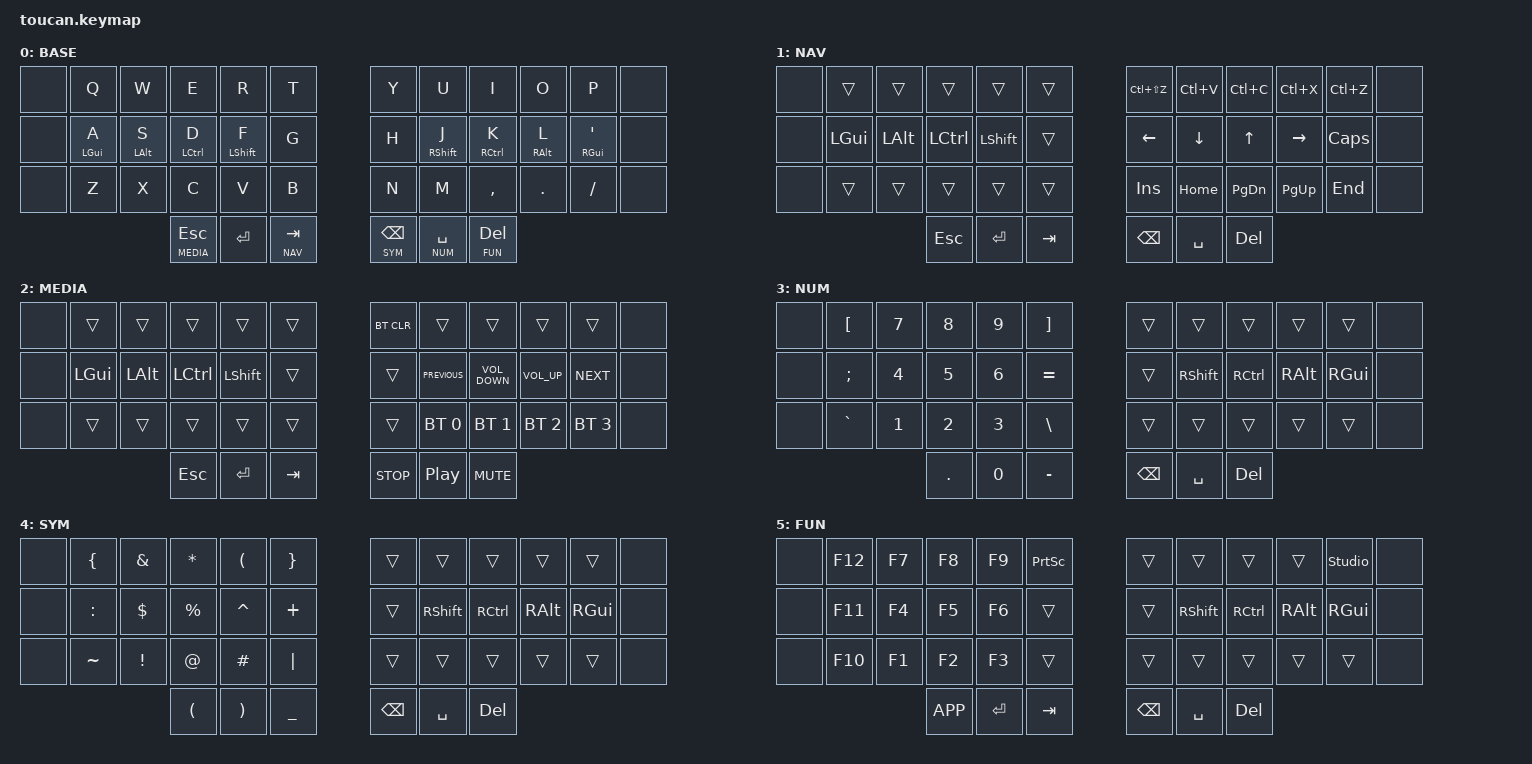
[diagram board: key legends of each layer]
/* Home-row modifiers and six layers ported from the Tornblue keymap. */
#include <behaviors.dtsi>
#include <dt-bindings/zmk/keys.h>
#include <dt-bindings/zmk/bt.h>

#define DEFAULT 0
#define NAV     1
#define MEDIA   2
#define NUM     3
#define SYM     4
#define FUN     5

/ {
    behaviors {
        hml: homerow_left {
            compatible = "zmk,behavior-hold-tap";
            display-name = "Home Row Left";
            #binding-cells = <2>;
            flavor = "balanced";
            tapping-term-ms = <200>;
            quick-tap-ms = <175>;
            require-prior-idle-ms = <175>;
            bindings = <&kp>, <&kp>;
            hold-trigger-key-positions = <20 21 22 23>;
            hold-trigger-on-release;
        };
        hmr: homerow_right {
            compatible = "zmk,behavior-hold-tap";
            display-name = "Home Row Right";
            #binding-cells = <2>;
            flavor = "balanced";
            tapping-term-ms = <200>;
            quick-tap-ms = <175>;
            require-prior-idle-ms = <175>;
            bindings = <&kp>, <&kp>;
            hold-trigger-key-positions = <14 15 16 17>;
            hold-trigger-on-release;
        };
        mo_layer: behavior_mo_layer {
            compatible = "zmk,behavior-hold-tap";
            display-name = "Symbol Layer / Backspace";
            #binding-cells = <2>;
            tapping-term-ms = <200>;
            quick-tap-ms = <200>;
            flavor = "balanced";
            bindings = <&mo>, <&kp>;
        };
    };

    keymap {
        compatible = "zmk,keymap";

        default_layer {
            display-name = "BASE";
            bindings = <
                &none  &kp Q        &kp W        &kp E         &kp R          &kp T    &kp Y  &kp U          &kp I         &kp O        &kp P          &none
                &none  &hml LGUI A  &hml LALT S  &hml LCTRL D  &hml LSHIFT F  &kp G    &kp H  &hmr RSHIFT J  &hmr RCTRL K  &hmr RALT L  &hmr RGUI SQT  &none
                &none  &kp Z        &kp X        &kp C         &kp V          &kp B    &kp N  &kp M          &kp COMMA     &kp DOT      &kp FSLH       &none
                                &lt MEDIA ESC  &kp RET        &lt NAV TAB    &mo_layer SYM BSPC  &lt NUM SPACE  &lt FUN DELETE
            >;
        };

        nav {
            display-name = "NAV";
            bindings = <
                &none  &trans        &trans    &trans     &trans      &trans    &kp LC(LS(Z))  &kp LC(V)  &kp LC(C)      &kp LC(X)    &kp LC(Z)  &none
                &none  &kp LEFT_GUI  &kp LALT  &kp LCTRL  &kp LSHIFT  &trans    &kp LEFT       &kp DOWN   &kp UP         &kp RIGHT    &kp CAPS   &none
                &none  &trans        &trans    &trans     &trans      &trans    &kp INSERT     &kp HOME   &kp PAGE_DOWN  &kp PAGE_UP  &kp END    &none
                                &kp ESC    &kp RET     &kp TAB    &kp BSPC       &kp SPACE  &kp DELETE
            >;
        };

        media {
            display-name = "MEDIA";
            bindings = <
                &none  &trans        &trans    &trans     &trans      &trans    &bt BT_CLR  &trans          &trans             &trans           &trans        &none
                &none  &kp LEFT_GUI  &kp LALT  &kp LCTRL  &kp LSHIFT  &trans    &trans      &kp C_PREVIOUS  &kp C_VOLUME_DOWN  &kp C_VOLUME_UP  &kp C_NEXT    &none
                &none  &trans        &trans    &trans     &trans      &trans    &trans      &bt BT_SEL 0    &bt BT_SEL 1       &bt BT_SEL 2     &bt BT_SEL 3  &none
                                &kp ESC    &kp RET     &kp TAB    &kp C_STOP  &kp C_PLAY_PAUSE  &kp C_MUTE
            >;
        };

        num {
            display-name = "NUM";
            bindings = <
                &none  &kp LEFT_BRACKET  &kp N7  &kp N8  &kp N9  &kp RIGHT_BRACKET    &trans  &trans      &trans     &trans    &trans    &none
                &none  &kp SEMICOLON     &kp N4  &kp N5  &kp N6  &kp EQUAL            &trans  &kp RSHIFT  &kp RCTRL  &kp RALT  &kp RGUI  &none
                &none  &kp GRAVE         &kp N1  &kp N2  &kp N3  &kp BACKSLASH        &trans  &trans      &trans     &trans    &trans    &none
                                &kp DOT  &kp N0  &kp MINUS            &kp BSPC  &kp SPACE   &kp DELETE
            >;
        };

        sym {
            display-name = "SYM";
            bindings = <
                &none  &kp LEFT_BRACE  &kp AMPERSAND  &kp ASTERISK  &kp LEFT_PARENTHESIS  &kp RIGHT_BRACE    &trans  &trans      &trans     &trans    &trans    &none
                &none  &kp COLON       &kp DOLLAR     &kp PERCENT   &kp CARET             &kp PLUS           &trans  &kp RSHIFT  &kp RCTRL  &kp RALT  &kp RGUI  &none
                &none  &kp TILDE       &kp EXCL       &kp AT        &kp HASH              &kp PIPE           &trans  &trans      &trans     &trans    &trans    &none
                                &kp LPAR      &kp RPAR              &kp UNDERSCORE     &kp BSPC  &kp SPACE   &kp DELETE
            >;
        };

        fun {
            display-name = "FUN";
            bindings = <
                &none  &kp F12  &kp F7  &kp F8  &kp F9  &kp PSCRN    &trans  &trans      &trans     &trans    &studio_unlock  &none
                &none  &kp F11  &kp F4  &kp F5  &kp F6  &trans       &trans  &kp RSHIFT  &kp RCTRL  &kp RALT  &kp RGUI        &none
                &none  &kp F10  &kp F1  &kp F2  &kp F3  &trans       &trans  &trans      &trans     &trans    &trans          &none
                                &kp K_APP  &kp RET  &kp TAB      &kp BSPC  &kp SPACE   &kp DELETE
            >;
        };

        extra_2 {
            status = "reserved";
        };

        extra_3 {
            status = "reserved";
        };
    };
};

// Ignore touch notifications instead of activating a layer.
&is_touching_processor {
    bindings = <&none>;
};

// Keep trackpad scrolling aligned with this keymap's layer order.
&trackpad_listener {
    scroller {
        layers = <NAV SYM>;
    };
};
